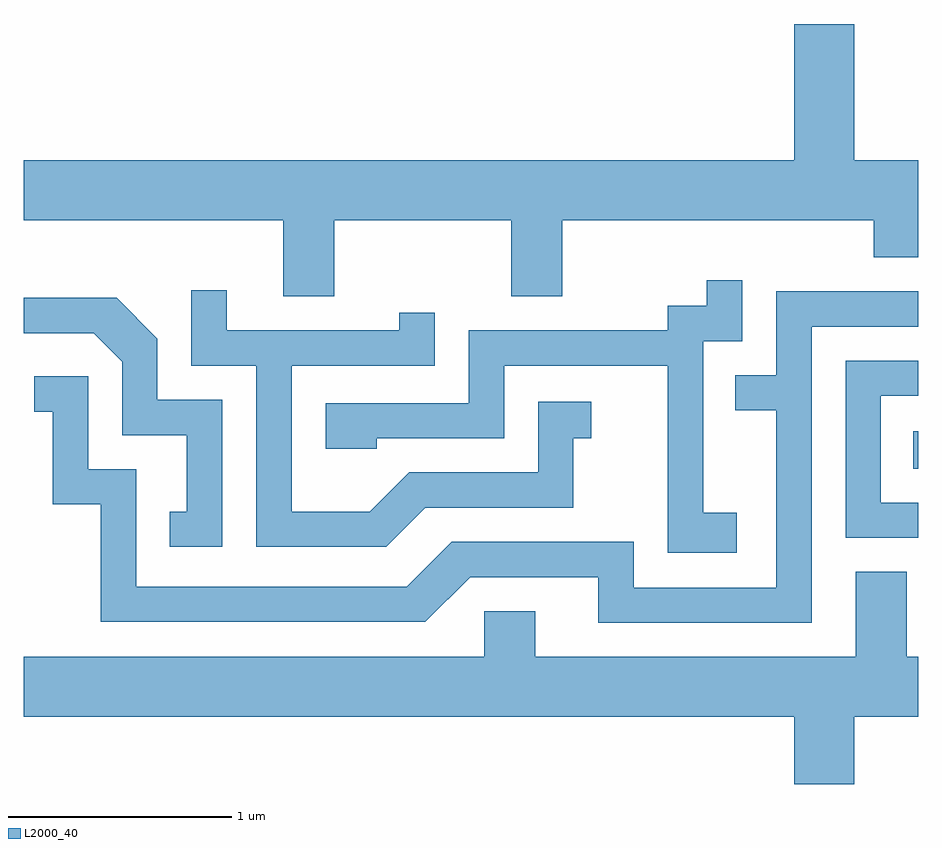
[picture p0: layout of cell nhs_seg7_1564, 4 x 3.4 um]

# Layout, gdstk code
import gdstk
lib = gdstk.Library(unit=1e-6, precision=1e-09)
def R(c, l, rs):  # rectangles x0, y0, x1, y1
    for r in rs: c.add(gdstk.rectangle(r[:2], r[2:], *l))
def P(c, l, *ps):  # polygons
    for p in ps: c.add(gdstk.Polygon(p, *l))
L2000_40 = (2000, 40)

nhs_seg7_1564 = lib.new_cell('nhs_seg7_1564')
R(nhs_seg7_1564, L2000_40, [(235.588,1802.006,235.611,1802.174)])
P(nhs_seg7_1564, L2000_40, [(232.999,1803.116),(233.791,1803.116),(233.791,1802.776),(234.019,1802.776),(234.019,1803.116),(235.411,1803.116),(235.411,1802.951),(235.611,1802.951),(235.611,1803.384),(235.324,1803.384),(235.324,1803.994),(235.056,1803.994),(235.056,1803.384),(231.611,1803.384),(231.611,1803.116),(232.771,1803.116),(232.771,1802.776),(232.999,1802.776)],
  [(234.799,1801.809),(234.649,1801.809),(234.649,1802.576),(234.824,1802.576),(234.824,1802.848),(234.666,1802.848),(234.666,1802.734),(234.491,1802.734),(234.491,1802.624),(233.601,1802.624),(233.601,1802.299),(232.961,1802.299),(232.961,1802.096),(233.189,1802.096),(233.189,1802.141),(233.759,1802.141),(233.759,1802.466),(234.491,1802.466),(234.491,1801.631),(234.799,1801.631)],
  [(233.407,1801.831),(234.069,1801.831),(234.069,1802.141),(234.148,1802.141),(234.148,1802.304),(233.911,1802.304),(233.911,1801.989),(233.334,1801.989),(233.159,1801.814),(232.809,1801.814),(232.809,1802.466),(233.449,1802.466),(233.449,1802.703),(233.291,1802.703),(233.291,1802.624),(232.519,1802.624),(232.519,1802.803),(232.361,1802.803),(232.361,1802.466),(232.651,1802.466),(232.651,1801.656),(233.232,1801.656)],
  [(235.134,1802.641),(235.611,1802.641),(235.611,1802.799),(234.976,1802.799),(234.976,1802.424),(234.793,1802.424),(234.793,1802.266),(234.976,1802.266),(234.976,1801.474),(234.339,1801.474),(234.339,1801.679),(233.524,1801.679),(233.324,1801.479),(232.114,1801.479),(232.114,1802.004),(231.899,1802.004),(231.899,1802.419),(231.658,1802.419),(231.658,1802.261),(231.741,1802.261),(231.741,1801.846),(231.956,1801.846),(231.956,1801.321),(233.407,1801.321),(233.607,1801.521),(234.181,1801.521),(234.181,1801.316),(235.134,1801.316)],
  [(232.499,1802.314),(232.209,1802.314),(232.209,1802.587),(232.027,1802.769),(231.611,1802.769),(231.611,1802.611),(231.924,1802.611),(232.051,1802.484),(232.051,1802.156),(232.341,1802.156),(232.341,1801.814),(232.263,1801.814),(232.263,1801.656),(232.499,1801.656)],
  [(235.611,1801.854),(235.444,1801.854),(235.444,1802.331),(235.611,1802.331),(235.611,1802.489),(235.286,1802.489),(235.286,1801.696),(235.611,1801.696)],
  [(235.611,1801.164),(235.559,1801.164),(235.559,1801.544),(235.331,1801.544),(235.331,1801.164),(233.899,1801.164),(233.899,1801.369),(233.671,1801.369),(233.671,1801.164),(231.611,1801.164),(231.611,1800.896),(235.056,1800.896),(235.056,1800.596),(235.324,1800.596),(235.324,1800.896),(235.611,1800.896)])

lib.write_gds('nhs_seg7_1564.gds')
